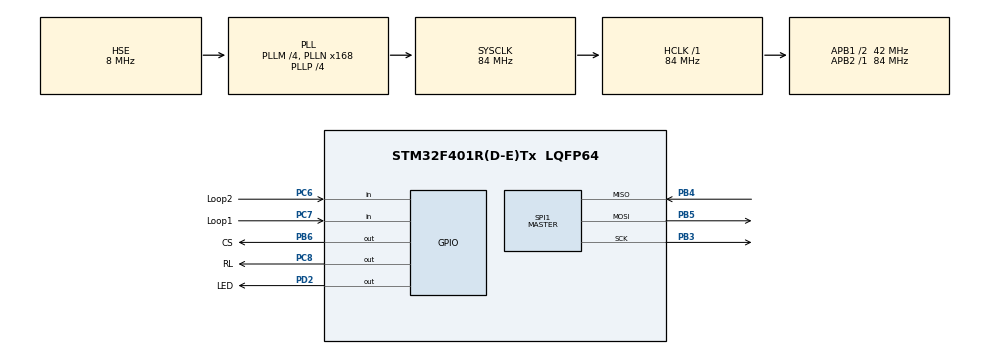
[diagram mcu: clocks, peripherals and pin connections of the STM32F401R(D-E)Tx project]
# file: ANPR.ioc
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FREERTOS.Tasks01=Server_Task,24,128,handle_server,Default,NULL,Dynamic,NULL,NULL;Loop_task,8,128,Loop_Scanning,Default,NULL,Dynamic,NULL,NULL
FREERTOS.configUSE_NEWLIB_REENTRANT=1
Mcu.Family=STM32F4
Mcu.Name=STM32F401R(D-E)Tx
Mcu.Package=LQFP64
NVIC.PriorityGroup=NVIC_PRIORITYGROUP_4
NVIC.TIM1_UP_TIM10_IRQn=true\:15\:0\:false\:false\:true\:false\:false\:true\:true
NVIC.TIM3_IRQn=true\:5\:0\:false\:false\:true\:true\:true\:true\:true
NVIC.TimeBase=TIM1_UP_TIM10_IRQn
NVIC.TimeBaseIP=TIM10
PB3.Mode=Full_Duplex_Master
PB3.Signal=SPI1_SCK
PB4.Mode=Full_Duplex_Master
PB4.Signal=SPI1_MISO
PB5.Mode=Full_Duplex_Master
PB5.Signal=SPI1_MOSI
PB6.GPIO_Label=CS
PB6.Signal=GPIO_Output
PC6.GPIO_Label=Loop2
PC6.GPIO_PuPd=GPIO_PULLUP
PC6.Signal=GPIO_Input
PC7.GPIO_Label=Loop1
PC7.GPIO_PuPd=GPIO_PULLUP
PC7.Signal=GPIO_Input
PC8.GPIO_Label=RL
PC8.Signal=GPIO_Output
PD2.GPIO_Label=LED
PD2.Signal=GPIO_Output
PH0\ -\ OSC_IN.Mode=HSE-External-Oscillator
PH0\ -\ OSC_IN.Signal=RCC_OSC_IN
PH1\ -\ OSC_OUT.Mode=HSE-External-Oscillator
PH1\ -\ OSC_OUT.Signal=RCC_OSC_OUT
ProjectManager.HeapSize=0x200
ProjectManager.StackSize=0x400
ProjectManager.TargetToolchain=STM32CubeIDE
RCC.48MHZClocksFreq_Value=84000000
RCC.AHBFreq_Value=84000000
RCC.APB1CLKDivider=RCC_HCLK_DIV2
RCC.APB1Freq_Value=42000000
RCC.APB1TimFreq_Value=84000000
RCC.APB2Freq_Value=84000000
RCC.APB2TimFreq_Value=84000000
RCC.CortexFreq_Value=84000000
RCC.HCLKFreq_Value=84000000
RCC.HSE_VALUE=8000000
RCC.HSI_VALUE=16000000
RCC.LSE_VALUE=32768
RCC.PLLM=4
RCC.PLLN=168
RCC.PLLP=RCC_PLLP_DIV4
RCC.PLLSourceVirtual=RCC_PLLSOURCE_HSE
RCC.SYSCLKFreq_VALUE=84000000
RCC.SYSCLKSource=RCC_SYSCLKSOURCE_PLLCLK
RCC.VCOOutputFreq_Value=336000000
SPI1.Direction=SPI_DIRECTION_2LINES
SPI1.Mode=SPI_MODE_MASTER
SPI1.VirtualType=VM_MASTER
TIM3.Period=62499
TIM3.Prescaler=1343
VP_FREERTOS_VS_CMSIS_V2.Mode=CMSIS_V2
VP_SYS_VS_tim10.Mode=TIM10
VP_TIM3_VS_ClockSourceINT.Mode=Internal
board=custom

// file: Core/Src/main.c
/* USER CODE BEGIN Header */
/**
  ******************************************************************************
  * @file           : main.c
  * @brief          : Main program body
  ******************************************************************************
  * @attention
  *
  * Copyright (c) 2025 STMicroelectronics.
  * All rights reserved.
  *
  * This software is licensed under terms that can be found in the LICENSE file
  * in the root directory of this software component.
  * If no LICENSE file comes with this software, it is provided AS-IS.
  *
  ******************************************************************************
  */
/* USER CODE END Header */
#include "main.h"
#include "cmsis_os.h"

/* USER CODE BEGIN Includes */
#include "socket.h"
#include "wizchip_conf.h"
#include "loopback.h"
#include "w5500.h"
#include <stdio.h>
#include <string.h>
#include "stm32f4xx_hal.h"
/* USER CODE END Includes */

SPI_HandleTypeDef hspi1;

TIM_HandleTypeDef htim3;

/* Definitions for Server_Task */
osThreadId_t Server_TaskHandle;
const osThreadAttr_t Server_Task_attributes = {
  .name = "Server_Task",
  .stack_size = 128 * 4,
  .priority = (osPriority_t) osPriorityNormal,
};
/* Definitions for Loop_task */
osThreadId_t Loop_taskHandle;
const osThreadAttr_t Loop_task_attributes = {
  .name = "Loop_task",
  .stack_size = 128 * 4,
  .priority = (osPriority_t) osPriorityLow,
};
/* USER CODE BEGIN PV */
uint8_t socket_buf[100];     						// Buffer to receive data
uint8_t rcvBuf[20],bufSize[]={2,2,2,2};
int32_t len;										//Len of data recived
wiz_NetInfo getInfo ={ .mac={0},  					//Mac address
	  		  	  	   .ip ={0}, 					// IP address
	    			   .sn ={0},					//Subnet mask
	    			   .gw ={0}};					//Gateway address

uint8_t dest_ip[4] = {192, 168, 1, 43};
uint16_t dest_port = 5000;
#define SOCK_TCPC 0         							     // Socket 0
#define SRC_PORT 5000     								     // Listening port
int temp = 0;
#define RX_BUF_SIZE 1024
uint8_t rx_buf[RX_BUF_SIZE];
#define DEBOUNCE_DELAY   50// milliseconds
volatile uint8_t loop1_flag = 0;
volatile uint8_t loop2_flag = 0;

volatile uint8_t entry_Busy = 0;
volatile uint8_t exit_Busy = 0;
char tmr=0;
char relay_signal=0;
#define RESET_LOOP 5

char json_body[256];
int content_length;
char http_post[512];

char relaystt=0;
/* USER CODE END PV */

void SystemClock_Config(void);
static void MX_GPIO_Init(void);
static void MX_SPI1_Init(void);
static void MX_TIM3_Init(void);
void handle_server(void *argument);
void Loop_Scanning(void *argument);

/* USER CODE BEGIN 0 */
void cs_sel(){
	 HAL_GPIO_WritePin(CS_GPIO_Port, CS_Pin, GPIO_PIN_RESET);
}
void cs_desel(){
	HAL_GPIO_WritePin(CS_GPIO_Port, CS_Pin, GPIO_PIN_SET);
}
uint8_t spi_rb(void){
	uint8_t rbuf;
	HAL_SPI_Receive(&hspi1,&rbuf,1,100);
	return rbuf;
}
void spi_wb(uint8_t b){
	HAL_SPI_Transmit(&hspi1,&b,1,100);
}
void check_inputs(void)
{
    static uint32_t last_inc_time = 0;
    static uint32_t last_dec_time = 0;
    static uint8_t inc_flag = 0;
    static uint8_t dec_flag = 0;
    GPIO_PinState inc_pin = HAL_GPIO_ReadPin(GPIOC, Loop1_Pin);
    GPIO_PinState dec_pin = HAL_GPIO_ReadPin(GPIOC, Loop2_Pin);
    uint32_t now = HAL_GetTick();
    if (inc_pin == GPIO_PIN_RESET) // active low Loop
    {
        if (!inc_flag && (now - last_inc_time) > DEBOUNCE_DELAY)
        {
            inc_flag = 1; // mark as pressed
            last_inc_time = now;
//            HAL_Delay(100);
            if(exit_Busy)
            {
            	exit_Busy=0;
            }
            else
            {
//                entry_Busy=1;
//                if(!loop1_flag)loop1_flag=1;
                if(!entry_Busy)
                	{
                	entry_Busy=1;
                	if(!loop1_flag)loop1_flag=1;
                	HAL_GPIO_WritePin(RL_GPIO_Port, RL_Pin, GPIO_PIN_RESET);
                	relay_signal=0;
                	tmr=0;
                	}
            }

//            HAL_GPIO_TogglePin(LED_GPIO_Port, LED_Pin);
//            HAL_GPIO_WritePin(RL_GPIO_Port, RL_Pin, GPIO_PIN_RESET);
        }
    }
    else
    {
        // Loop released
        inc_flag = 0;
    }

    if (dec_pin == GPIO_PIN_RESET) // active low Loop
    {
        if (!dec_flag && (now - last_dec_time) > DEBOUNCE_DELAY)
        {
            dec_flag = 1; // mark as pressed
            last_dec_time = now;
//            HAL_Delay(100);
            if(entry_Busy)
            {
            	entry_Busy=0;

            }
            else
            {
//            	 if(!loop2_flag) {loop2_flag=1;}
//            	 exit_Busy=1;
            	 if(!exit_Busy)
					{
            		 exit_Busy=1;
					if(!loop2_flag)loop2_flag=1;
					HAL_GPIO_WritePin(RL_GPIO_Port, RL_Pin, GPIO_PIN_RESET);
					relay_signal=0;
					tmr=0;
					}
            }

//            HAL_GPIO_TogglePin(LED_GPIO_Port, LED_Pin);
//            relaystt=1;
        }
    }
    else
    {
        // Loop released
        dec_flag = 0;
//        if(relaystt)
//        	{
//        	relaystt=0;
//        		HAL_GPIO_WritePin(RL_GPIO_Port, RL_Pin, GPIO_PIN_SET);
//        	}
    }
}
//void send_post_request(void)
//{
//	if(loop1_flag)
//	{
//		loop1_flag=0;
//	    int8_t sock = socket(SOCK_TCPC, Sn_MR_TCP, SRC_PORT, 0);
//	    if (sock != SOCK_TCPC) {
//	        printf("Socket open failed\n");
//	    }
//	    if (connect(SOCK_TCPC, dest_ip, dest_port) != SOCK_OK) {
//	        printf("Socket connect failed\n");
//	        close(SOCK_TCPC);
//	    }
//	    snprintf(json_body, sizeof(json_body),
//	             "{\"data\":\"Entry\"}");
//	     content_length = strlen(json_body);
//	    snprintf(http_post, sizeof(http_post),
//	        "POST /sensor_data HTTP/1.1\r\n"
//	        "Host: 192.168.1.42:5000\r\n"
//	        "Content-Type: application/json\r\n"
//	        "Content-Length: %d\r\n"
//			"Connection: keep-alive\r\n"
//	        "\r\n"
//	        "%s",
//	        content_length, json_body);
//	    int sent = send(SOCK_TCPC, (uint8_t*)http_post, strlen(http_post));
//	    if (sent <= 0) {
//	        printf("Send failed\n");
//	    } else {
//	    	 HAL_GPIO_TogglePin(LED_GPIO_Port, LED_Pin);
//	        printf("POST sent\n");
//	    }
////	    uint8_t rx_buff[1024] = {0};
////	    int32_t recv_len = recv(SOCK_TCPC, rx_buff, sizeof(rx_buff));
////	    int32_t len = recv(SOCK_TCPC, rx_buf, RX_BUF_SIZE );  // Leave space for null terminator
//	    close(SOCK_TCPC);
//
//	}
//	if(loop2_flag)
//	{
//		 loop2_flag=0;
//		int8_t sock = socket(SOCK_TCPC, Sn_MR_TCP, SRC_PORT, 0);
//		if (sock != SOCK_TCPC) {
//			printf("Socket open failed\n");
//		}
//		if (connect(SOCK_TCPC, dest_ip, dest_port) != SOCK_OK) {
//			printf("Socket connect failed\n");
//			close(SOCK_TCPC);
//		}
//		    snprintf(json_body, sizeof(json_body),
//		             "{\"data\":\"Exit\"}");
//		content_length = strlen(json_body);
//		snprintf(http_post, sizeof(http_post),
//			"POST /sensor_data HTTP/1.1\r\n"
//			"Host: 192.168.1.42:5000\r\n"
//			"Content-Type: application/json\r\n"
//			"Content-Length: %d\r\n"
//			"Connection: keep-alive\r\n"
//			"\r\n"
//			"%s",
//			content_length, json_body);
//		int sent = send(SOCK_TCPC, (uint8_t*)http_post, strlen(http_post));
//		if (sent <= 0) {
//			printf("Send failed\n");
//		} else {
//			 HAL_GPIO_TogglePin(LED_GPIO_Port, LED_Pin);
//			printf("POST sent\n");
//		}
////	 Optionally receive response
////		    uint8_t rx_buff[1024] = {0};
////		    int32_t recv_len = recv(SOCK_TCPC, rx_buff, sizeof(rx_buff));
////		    int32_t len = recv(SOCK_TCPC, rx_buf, RX_BUF_SIZE );  // Leave space for null terminator
//		    close(SOCK_TCPC);
//
//		}
//}
int send_post_request(const char *data)
{
    uint32_t start;
    int8_t sock;

    /* Open socket */
    sock = socket(SOCK_TCPC, Sn_MR_TCP, SRC_PORT, 0);
    if (sock != SOCK_TCPC)
    {
        printf("Socket open failed\n");
        return -1;
    }

    /* Connect */
    connect(SOCK_TCPC, dest_ip, dest_port);

    start = xTaskGetTickCount();
    while (getSn_SR(SOCK_TCPC) != SOCK_ESTABLISHED)
    {
        if (getSn_SR(SOCK_TCPC) == SOCK_CLOSED)
        {
            printf("Connect failed\n");
            close(SOCK_TCPC);
            return -2;
        }

        if ((xTaskGetTickCount() - start) > pdMS_TO_TICKS(300))
        {
            printf("Connect timeout\n");
            close(SOCK_TCPC);
            return -3;
        }

        vTaskDelay(pdMS_TO_TICKS(10));
    }

    /* Build POST */
//    char json_body[64];
//    char http_post[256];

    snprintf(json_body, sizeof(json_body),
             "{\"data\":\"%s\"}", data);

    int content_length = strlen(json_body);

    snprintf(http_post, sizeof(http_post),
        "POST /sensor_data HTTP/1.1\r\n"
        "Host: 192.168.1.43:5000\r\n"
        "Content-Type: application/json\r\n"
        "Content-Length: %d\r\n"
        "Connection: close\r\n"
        "\r\n"
        "%s",
        content_length, json_body);

    /* Send */
    int ret = send(SOCK_TCPC, (uint8_t *)http_post, strlen(http_post));
    if (ret <= 0)
    {
        printf("Send failed\n");
        close(SOCK_TCPC);
        return -4;
    }

    HAL_GPIO_TogglePin(LED_GPIO_Port, LED_Pin);
    printf("POST sent: %s\n", data);

    /* Close */
    disconnect(SOCK_TCPC);
    close(SOCK_TCPC);

    return 0;
}

/* USER CODE END 0 */

int main(void)
{

  /* MCU Configuration--------------------------------------------------------*/

  /* Reset of all peripherals, Initializes the Flash interface and the Systick. */
  HAL_Init();

  /* Configure the system clock */
  SystemClock_Config();

  /* Initialize all configured peripherals */
  MX_GPIO_Init();
  MX_SPI1_Init();
  MX_TIM3_Init();
  /* USER CODE BEGIN 2 */
  reg_wizchip_cs_cbfunc(cs_sel,cs_desel);
  reg_wizchip_spi_cbfunc(spi_rb,spi_wb);
  wizchip_init(bufSize,bufSize);
  wiz_NetTimeout net_timeout;
  net_timeout.retry_cnt  = 3;      // retry 3 times
  net_timeout.time_100us = 2500;  // 1 second per retry
  wizchip_settimeout(&net_timeout);
  wiz_NetInfo netInfo ={ .mac={0x00,0x08,0xdc,0xab,0xcd,0xef}, //Mac address
					  .ip ={192,168,1,113}, 					// IP address
					  .sn ={255,255,255,0},					//Subnet mask
					  .gw ={192,168,1,1}};					//Gateway address
  HAL_Delay(500);
  wizchip_setnetinfo(&netInfo);
  HAL_Delay(500);
  wizchip_getnetinfo(&getInfo);
  HAL_TIM_Base_Start_IT(&htim3);
  /* USER CODE END 2 */

  /* Init scheduler */
  osKernelInitialize();

  /* Create the thread(s) */
  /* creation of Server_Task */
  Server_TaskHandle = osThreadNew(handle_server, NULL, &Server_Task_attributes);

  /* creation of Loop_task */
  Loop_taskHandle = osThreadNew(Loop_Scanning, NULL, &Loop_task_attributes);

  /* Start scheduler */
  osKernelStart();

  /* We should never get here as control is now taken by the scheduler */

  /* Infinite loop */
  while (1)
  {

  }
}

void SystemClock_Config(void)
{
  RCC_OscInitTypeDef RCC_OscInitStruct = {0};
  RCC_ClkInitTypeDef RCC_ClkInitStruct = {0};

  /** Configure the main internal regulator output voltage
  */
  __HAL_RCC_PWR_CLK_ENABLE();
  __HAL_PWR_VOLTAGESCALING_CONFIG(PWR_REGULATOR_VOLTAGE_SCALE2);

  /** Initializes the RCC Oscillators according to the specified parameters
  * in the RCC_OscInitTypeDef structure.
  */
  RCC_OscInitStruct.OscillatorType = RCC_OSCILLATORTYPE_HSE;
  RCC_OscInitStruct.HSEState = RCC_HSE_ON;
  RCC_OscInitStruct.PLL.PLLState = RCC_PLL_ON;
  RCC_OscInitStruct.PLL.PLLSource = RCC_PLLSOURCE_HSE;
  RCC_OscInitStruct.PLL.PLLM = 4;
  RCC_OscInitStruct.PLL.PLLN = 168;
  RCC_OscInitStruct.PLL.PLLP = RCC_PLLP_DIV4;
  RCC_OscInitStruct.PLL.PLLQ = 4;
  if (HAL_RCC_OscConfig(&RCC_OscInitStruct) != HAL_OK)
  {
    Error_Handler();
  }

  /** Initializes the CPU, AHB and APB buses clocks
  */
  RCC_ClkInitStruct.ClockType = RCC_CLOCKTYPE_HCLK|RCC_CLOCKTYPE_SYSCLK
                              |RCC_CLOCKTYPE_PCLK1|RCC_CLOCKTYPE_PCLK2;
  RCC_ClkInitStruct.SYSCLKSource = RCC_SYSCLKSOURCE_PLLCLK;
  RCC_ClkInitStruct.AHBCLKDivider = RCC_SYSCLK_DIV1;
  RCC_ClkInitStruct.APB1CLKDivider = RCC_HCLK_DIV2;
  RCC_ClkInitStruct.APB2CLKDivider = RCC_HCLK_DIV1;

  if (HAL_RCC_ClockConfig(&RCC_ClkInitStruct, FLASH_LATENCY_2) != HAL_OK)
  {
    Error_Handler();
  }
}

static void MX_SPI1_Init(void)
{

  /* SPI1 parameter configuration*/
  hspi1.Instance = SPI1;
  hspi1.Init.Mode = SPI_MODE_MASTER;
  hspi1.Init.Direction = SPI_DIRECTION_2LINES;
  hspi1.Init.DataSize = SPI_DATASIZE_8BIT;
  hspi1.Init.CLKPolarity = SPI_POLARITY_LOW;
  hspi1.Init.CLKPhase = SPI_PHASE_1EDGE;
  hspi1.Init.NSS = SPI_NSS_SOFT;
  hspi1.Init.BaudRatePrescaler = SPI_BAUDRATEPRESCALER_2;
  hspi1.Init.FirstBit = SPI_FIRSTBIT_MSB;
  hspi1.Init.TIMode = SPI_TIMODE_DISABLE;
  hspi1.Init.CRCCalculation = SPI_CRCCALCULATION_DISABLE;
  hspi1.Init.CRCPolynomial = 10;
  if (HAL_SPI_Init(&hspi1) != HAL_OK)
  {
    Error_Handler();
  }

}

static void MX_TIM3_Init(void)
{

  TIM_ClockConfigTypeDef sClockSourceConfig = {0};
  TIM_MasterConfigTypeDef sMasterConfig = {0};

  htim3.Instance = TIM3;
  htim3.Init.Prescaler = 1343;
  htim3.Init.CounterMode = TIM_COUNTERMODE_UP;
  htim3.Init.Period = 62499;
  htim3.Init.ClockDivision = TIM_CLOCKDIVISION_DIV1;
  htim3.Init.AutoReloadPreload = TIM_AUTORELOAD_PRELOAD_DISABLE;
  if (HAL_TIM_Base_Init(&htim3) != HAL_OK)
  {
    Error_Handler();
  }
  sClockSourceConfig.ClockSource = TIM_CLOCKSOURCE_INTERNAL;
  if (HAL_TIM_ConfigClockSource(&htim3, &sClockSourceConfig) != HAL_OK)
  {
    Error_Handler();
  }
  sMasterConfig.MasterOutputTrigger = TIM_TRGO_RESET;
  sMasterConfig.MasterSlaveMode = TIM_MASTERSLAVEMODE_DISABLE;
  if (HAL_TIMEx_MasterConfigSynchronization(&htim3, &sMasterConfig) != HAL_OK)
  {
    Error_Handler();
  }

}

static void MX_GPIO_Init(void)
{
  GPIO_InitTypeDef GPIO_InitStruct = {0};

  /* GPIO Ports Clock Enable */
  __HAL_RCC_GPIOH_CLK_ENABLE();
  __HAL_RCC_GPIOC_CLK_ENABLE();
  __HAL_RCC_GPIOD_CLK_ENABLE();
  __HAL_RCC_GPIOB_CLK_ENABLE();

  /*Configure GPIO pin Output Level */
  HAL_GPIO_WritePin(RL_GPIO_Port, RL_Pin, GPIO_PIN_SET);

  /*Configure GPIO pin Output Level */
  HAL_GPIO_WritePin(LED_GPIO_Port, LED_Pin, GPIO_PIN_RESET);

  /*Configure GPIO pin Output Level */
  HAL_GPIO_WritePin(CS_GPIO_Port, CS_Pin, GPIO_PIN_RESET);

  /*Configure GPIO pins : Loop2_Pin Loop1_Pin */
  GPIO_InitStruct.Pin = Loop2_Pin|Loop1_Pin;
  GPIO_InitStruct.Mode = GPIO_MODE_INPUT;
  GPIO_InitStruct.Pull = GPIO_PULLUP;
  HAL_GPIO_Init(GPIOC, &GPIO_InitStruct);

  /*Configure GPIO pin : RL_Pin */
  GPIO_InitStruct.Pin = RL_Pin;
  GPIO_InitStruct.Mode = GPIO_MODE_OUTPUT_PP;
  GPIO_InitStruct.Pull = GPIO_NOPULL;
  GPIO_InitStruct.Speed = GPIO_SPEED_FREQ_LOW;
  HAL_GPIO_Init(RL_GPIO_Port, &GPIO_InitStruct);

  /*Configure GPIO pin : LED_Pin */
  GPIO_InitStruct.Pin = LED_Pin;
  GPIO_InitStruct.Mode = GPIO_MODE_OUTPUT_PP;
  GPIO_InitStruct.Pull = GPIO_NOPULL;
  GPIO_InitStruct.Speed = GPIO_SPEED_FREQ_LOW;
  HAL_GPIO_Init(LED_GPIO_Port, &GPIO_InitStruct);

  /*Configure GPIO pin : CS_Pin */
  GPIO_InitStruct.Pin = CS_Pin;
  GPIO_InitStruct.Mode = GPIO_MODE_OUTPUT_PP;
  GPIO_InitStruct.Pull = GPIO_NOPULL;
  GPIO_InitStruct.Speed = GPIO_SPEED_FREQ_LOW;
  HAL_GPIO_Init(CS_GPIO_Port, &GPIO_InitStruct);

}

void handle_server(void *argument)
{
  /* USER CODE BEGIN 5 */
  /* Infinite loop */
  for(;;)
  {
//	  uint8_t phy = getPHYCFGR();
//	 	 	 	  if ((phy & 0x01) == 0) {
//	 	 	 	// Link is down
//	 	 	 		HAL_GPIO_WritePin(LED_GPIO_Port, LED_Pin, GPIO_PIN_RESET);
//	 	 	 	   close(SOCK_TCPC);
////	 	 	 	   socket(SOCK_TCPC, Sn_MR_TCP, SRC_PORT, 0);
////	 	 	 	   listen(SOCK_TCPC);
//	 	 	 	  }
//	 	 	 	  else
//	 	 	 	  {
//	 	 	 		  HAL_GPIO_WritePin(LED_GPIO_Port, LED_Pin, GPIO_PIN_SET);
//	 	 	 		send_post_request();
//	 	 	 	  }

	  /* Check PHY link */
	  if (wizphy_getphylink() == PHY_LINK_OFF)
		 {
			 HAL_GPIO_WritePin(LED_GPIO_Port, LED_Pin, GPIO_PIN_RESET);

			 if (getSn_SR(SOCK_TCPC) != SOCK_CLOSED)
			 {
				 close(SOCK_TCPC);
			 }

			 vTaskDelay(pdMS_TO_TICKS(500));
			 continue;
		 }
//
		 HAL_GPIO_WritePin(LED_GPIO_Port, LED_Pin, GPIO_PIN_SET);
//
//		 /* Process requests */
		 if (loop1_flag)
		 {
			 loop1_flag = 0;
			 send_post_request("Entry");
		 }
//
		 if (loop2_flag)
		 {
			 loop2_flag = 0;
			 send_post_request("Exit");
		 }

		 vTaskDelay(pdMS_TO_TICKS(50));

//    osDelay(1);
  }
  /* USER CODE END 5 */
}

void Loop_Scanning(void *argument)
{
  /* USER CODE BEGIN Loop_Scanning */
  /* Infinite loop */
  for(;;)
  {

	 	 	 	  check_inputs();
    osDelay(1);
  }
  /* USER CODE END Loop_Scanning */
}

void HAL_TIM_PeriodElapsedCallback(TIM_HandleTypeDef *htim)
{
  if (htim->Instance == TIM10)
  {
    HAL_IncTick();
  }
  /* USER CODE BEGIN Callback 1 */
  if (htim->Instance == TIM3)
  {
	  tmr++;
	  relay_signal++;
	  if(relay_signal>2)
		  {
		  	  relay_signal=0;
		  	HAL_GPIO_WritePin(RL_GPIO_Port, RL_Pin, GPIO_PIN_SET);
		  }
	  if(tmr>RESET_LOOP)
	  {
		  entry_Busy=0;
		  exit_Busy=0;
		  loop1_flag=0;
		  loop2_flag=0;
	  }

  }
  /* USER CODE END Callback 1 */
}

void Error_Handler(void)
{
  __disable_irq();
  while (1)
  {
  }
}
